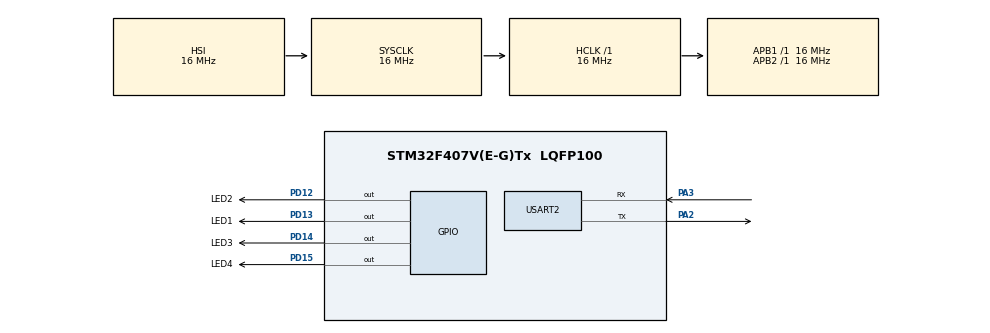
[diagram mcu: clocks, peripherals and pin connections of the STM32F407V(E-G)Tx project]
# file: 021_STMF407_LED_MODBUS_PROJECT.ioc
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Mcu.Family=STM32F4
Mcu.Name=STM32F407V(E-G)Tx
Mcu.Package=LQFP100
NVIC.PriorityGroup=NVIC_PRIORITYGROUP_4
PA13.Mode=Serial_Wire
PA13.Signal=SYS_JTMS-SWDIO
PA14.Mode=Serial_Wire
PA14.Signal=SYS_JTCK-SWCLK
PA2.Mode=Asynchronous
PA2.Signal=USART2_TX
PA3.Mode=Asynchronous
PA3.Signal=USART2_RX
PC14-OSC32_IN.Mode=LSE-External-Oscillator
PC14-OSC32_IN.Signal=RCC_OSC32_IN
PC15-OSC32_OUT.Mode=LSE-External-Oscillator
PC15-OSC32_OUT.Signal=RCC_OSC32_OUT
PD12.GPIO_Label=LED2
PD12.Signal=GPIO_Output
PD13.GPIO_Label=LED1
PD13.Signal=GPIO_Output
PD14.GPIO_Label=LED3
PD14.Signal=GPIO_Output
PD15.GPIO_Label=LED4
PD15.Signal=GPIO_Output
PH0-OSC_IN.Mode=HSE-External-Oscillator
PH0-OSC_IN.Signal=RCC_OSC_IN
PH1-OSC_OUT.Mode=HSE-External-Oscillator
PH1-OSC_OUT.Signal=RCC_OSC_OUT
ProjectManager.HeapSize=0x200
ProjectManager.StackSize=0x400
ProjectManager.TargetToolchain=STM32CubeIDE
RCC.AHBFreq_Value=16000000
RCC.APB1Freq_Value=16000000
RCC.APB2Freq_Value=16000000
RCC.CortexFreq_Value=16000000
RCC.HSE_VALUE=25000000
RCC.HSI_VALUE=16000000
RCC.SYSCLKFreq_VALUE=16000000
RCC.VCOOutputFreq_Value=192000000
USART2.VirtualMode=VM_ASYNC
board=custom

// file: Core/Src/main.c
/* USER CODE BEGIN Header */
/**
  ******************************************************************************
  * @file           : main.c
  * @brief          : Main program body
  ******************************************************************************
  * @attention
  *
  * Copyright (c) 2024 STMicroelectronics.
  * All rights reserved.
  *
  * This software is licensed under terms that can be found in the LICENSE file
  * in the root directory of this software component.
  * If no LICENSE file comes with this software, it is provided AS-IS.
  *
  ******************************************************************************
  */
/* USER CODE END Header */
#include "main.h"

/* USER CODE BEGIN PTD */
#define SLAVEID 1

/* USER CODE END PTD */

/* USER CODE BEGIN PD */
uint8_t rxbuffer[100];
uint8_t txbuffer[100];

uint16_t registers[6]={1,2,3,4,5,6};

uint16_t Modbus_CRC16(uint8_t *data, uint16_t length)
{
    uint16_t crc = 0xFFFF;
    for (int pos = 0; pos < length; pos++)
    {
        crc ^= (uint16_t)data[pos];
        for (int i = 8; i != 0; i--)
        {
            if ((crc & 0x0001) != 0)
            {
                crc >>= 1;
                crc ^= 0xA001;
            }
            else
                crc >>= 1;
        }
    }
    return crc;
}

/* USER CODE END PD */

UART_HandleTypeDef huart2;

void SystemClock_Config(void);
static void MX_GPIO_Init(void);
static void MX_USART2_UART_Init(void);

int main(void)
{

  /* MCU Configuration--------------------------------------------------------*/

  /* Reset of all peripherals, Initializes the Flash interface and the Systick. */
  HAL_Init();

  /* Configure the system clock */
  SystemClock_Config();

  /* Initialize all configured peripherals */
  MX_GPIO_Init();
  MX_USART2_UART_Init();
  /* USER CODE BEGIN 2 */

void MULTIPLE_WRITE_REGISTER(){

		uint16_t start_Reg = rxbuffer[2]<<8 | rxbuffer[3];
		uint16_t num_Reg = rxbuffer[4]<<8 | rxbuffer[5];

		uint8_t response [5+2*num_Reg+2];
		response[0] = SLAVEID;
		response[1] = 0x03;
		response[2] = 2*num_Reg;
		for(int i=0; i<num_Reg;i++){
			response[3+i*2] = (registers[start_Reg+i]>>8) & 0xFF ;
			response[4+i*2] =	registers[start_Reg+i] & 0xFF ;
		}

		uint16_t CRC2 = Modbus_CRC16(response, 3+2*num_Reg);
		response[3 + 2*num_Reg] = CRC2 & 0xFF;
		response[4 + 2*num_Reg] = (CRC2>>8) & 0xFF;

		int response_size = (3+2*num_Reg+2);
		HAL_UART_Transmit(&huart2, response, response_size, 100);

}
  /* USER CODE END 2 */

  /* Infinite loop */
  while (1)
  {

    /* USER CODE BEGIN 3 */
	  HAL_UART_Receive(&huart2, rxbuffer, sizeof(rxbuffer), 100);
	  if(rxbuffer[0]==1 && rxbuffer[1]== 0x03){
	  		  MULTIPLE_WRITE_REGISTER();

	  	  }

  }
  /* USER CODE END 3 */
}

void SystemClock_Config(void)
{
  RCC_OscInitTypeDef RCC_OscInitStruct = {0};
  RCC_ClkInitTypeDef RCC_ClkInitStruct = {0};

  /** Configure the main internal regulator output voltage
  */
  __HAL_RCC_PWR_CLK_ENABLE();
  __HAL_PWR_VOLTAGESCALING_CONFIG(PWR_REGULATOR_VOLTAGE_SCALE1);

  /** Initializes the RCC Oscillators according to the specified parameters
  * in the RCC_OscInitTypeDef structure.
  */
  RCC_OscInitStruct.OscillatorType = RCC_OSCILLATORTYPE_HSI;
  RCC_OscInitStruct.HSIState = RCC_HSI_ON;
  RCC_OscInitStruct.HSICalibrationValue = RCC_HSICALIBRATION_DEFAULT;
  RCC_OscInitStruct.PLL.PLLState = RCC_PLL_NONE;
  if (HAL_RCC_OscConfig(&RCC_OscInitStruct) != HAL_OK)
  {
    Error_Handler();
  }

  /** Initializes the CPU, AHB and APB buses clocks
  */
  RCC_ClkInitStruct.ClockType = RCC_CLOCKTYPE_HCLK|RCC_CLOCKTYPE_SYSCLK
                              |RCC_CLOCKTYPE_PCLK1|RCC_CLOCKTYPE_PCLK2;
  RCC_ClkInitStruct.SYSCLKSource = RCC_SYSCLKSOURCE_HSI;
  RCC_ClkInitStruct.AHBCLKDivider = RCC_SYSCLK_DIV1;
  RCC_ClkInitStruct.APB1CLKDivider = RCC_HCLK_DIV1;
  RCC_ClkInitStruct.APB2CLKDivider = RCC_HCLK_DIV1;

  if (HAL_RCC_ClockConfig(&RCC_ClkInitStruct, FLASH_LATENCY_0) != HAL_OK)
  {
    Error_Handler();
  }
}

static void MX_USART2_UART_Init(void)
{

  huart2.Instance = USART2;
  huart2.Init.BaudRate = 115200;
  huart2.Init.WordLength = UART_WORDLENGTH_8B;
  huart2.Init.StopBits = UART_STOPBITS_1;
  huart2.Init.Parity = UART_PARITY_NONE;
  huart2.Init.Mode = UART_MODE_TX_RX;
  huart2.Init.HwFlowCtl = UART_HWCONTROL_NONE;
  huart2.Init.OverSampling = UART_OVERSAMPLING_16;
  if (HAL_UART_Init(&huart2) != HAL_OK)
  {
    Error_Handler();
  }

}

static void MX_GPIO_Init(void)
{
  GPIO_InitTypeDef GPIO_InitStruct = {0};

  /* GPIO Ports Clock Enable */
  __HAL_RCC_GPIOC_CLK_ENABLE();
  __HAL_RCC_GPIOH_CLK_ENABLE();
  __HAL_RCC_GPIOA_CLK_ENABLE();
  __HAL_RCC_GPIOD_CLK_ENABLE();

  /*Configure GPIO pin Output Level */
  HAL_GPIO_WritePin(GPIOD, LED2_Pin|LED1_Pin|LED3_Pin|LED4_Pin, GPIO_PIN_RESET);

  /*Configure GPIO pins : LED2_Pin LED1_Pin LED3_Pin LED4_Pin */
  GPIO_InitStruct.Pin = LED2_Pin|LED1_Pin|LED3_Pin|LED4_Pin;
  GPIO_InitStruct.Mode = GPIO_MODE_OUTPUT_PP;
  GPIO_InitStruct.Pull = GPIO_NOPULL;
  GPIO_InitStruct.Speed = GPIO_SPEED_FREQ_LOW;
  HAL_GPIO_Init(GPIOD, &GPIO_InitStruct);

}

void Error_Handler(void)
{
  __disable_irq();
  while (1)
  {
  }
}
